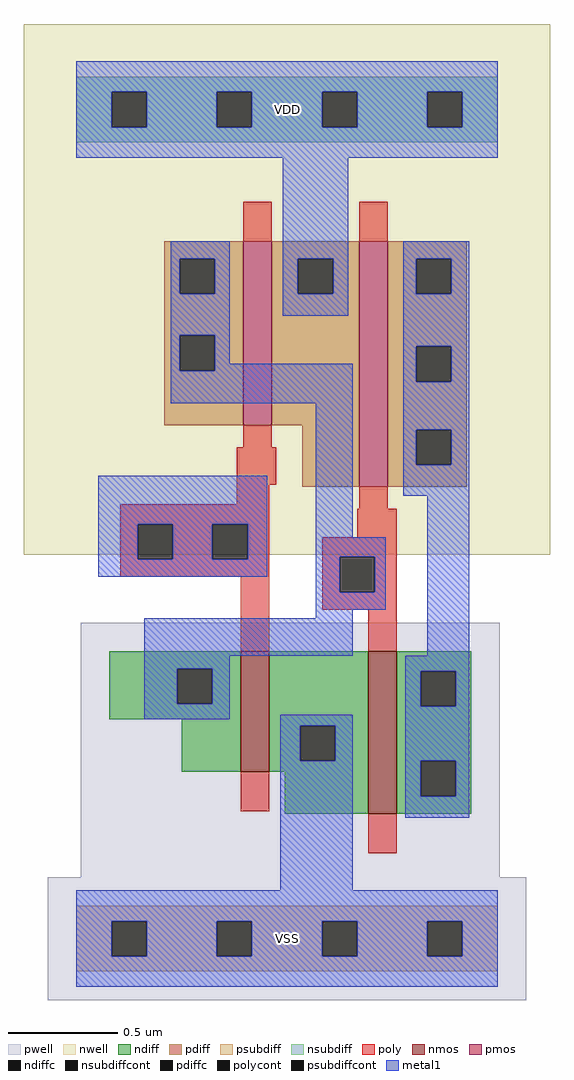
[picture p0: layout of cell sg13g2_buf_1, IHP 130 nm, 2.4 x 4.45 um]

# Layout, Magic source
magic
tech ihp-sg13g2
<< nwell >>
rect -24 175 216 417
<< pwell >>
rect 2 28 193 144
rect -13 -28 205 28
<< nmos >>
rect 75 76 88 131
rect 133 57 146 131
<< pmos >>
rect 76 234 89 318
rect 129 206 142 318
<< ndiff >>
rect 15 123 75 131
rect 15 107 46 123
rect 62 107 75 123
rect 15 100 75 107
rect 48 76 75 100
rect 88 97 133 131
rect 88 81 102 97
rect 118 81 133 97
rect 88 76 133 81
rect 95 57 133 76
rect 146 122 180 131
rect 146 106 157 122
rect 173 106 180 122
rect 146 81 180 106
rect 146 65 157 81
rect 173 65 180 81
rect 146 57 180 65
<< pdiff >>
rect 40 310 76 318
rect 40 294 47 310
rect 63 294 76 310
rect 40 275 76 294
rect 40 259 47 275
rect 63 259 76 275
rect 40 234 76 259
rect 89 310 129 318
rect 89 294 101 310
rect 117 294 129 310
rect 89 234 129 294
rect 103 206 129 234
rect 142 310 178 318
rect 142 294 155 310
rect 171 294 178 310
rect 142 270 178 294
rect 142 254 155 270
rect 171 254 178 270
rect 142 232 178 254
rect 142 216 155 232
rect 171 216 178 232
rect 142 206 178 216
<< ndiffc >>
rect 46 107 62 123
rect 102 81 118 97
rect 157 106 173 122
rect 157 65 173 81
<< pdiffc >>
rect 47 294 63 310
rect 47 259 63 275
rect 101 294 117 310
rect 155 294 171 310
rect 155 254 171 270
rect 155 216 171 232
<< psubdiff >>
rect 0 8 192 15
rect 0 -8 16 8
rect 32 -8 64 8
rect 80 -8 112 8
rect 128 -8 160 8
rect 176 -8 192 8
rect 0 -15 192 -8
<< nsubdiff >>
rect 0 386 192 393
rect 0 370 16 386
rect 32 370 64 386
rect 80 370 112 386
rect 128 370 160 386
rect 176 370 192 386
rect 0 363 192 370
<< psubdiffcont >>
rect 16 -8 32 8
rect 64 -8 80 8
rect 112 -8 128 8
rect 160 -8 176 8
<< nsubdiffcont >>
rect 16 370 32 386
rect 64 370 80 386
rect 112 370 128 386
rect 160 370 176 386
<< poly >>
rect 76 318 89 336
rect 129 318 142 336
rect 76 224 89 234
rect 73 207 91 224
rect 73 198 88 207
rect 20 189 88 198
rect 129 196 142 206
rect 20 173 28 189
rect 44 173 62 189
rect 78 173 88 189
rect 128 183 146 196
rect 20 165 88 173
rect 75 131 88 165
rect 112 174 146 183
rect 112 158 120 174
rect 136 158 146 174
rect 112 150 146 158
rect 133 131 146 150
rect 75 58 88 76
rect 133 39 146 57
<< polycont >>
rect 28 173 44 189
rect 62 173 78 189
rect 120 158 136 174
<< metal1 >>
rect 0 386 192 400
rect 0 370 16 386
rect 32 370 64 386
rect 80 370 112 386
rect 128 370 160 386
rect 176 370 192 386
rect 0 356 192 370
rect 43 310 70 318
rect 43 294 47 310
rect 63 294 70 310
rect 43 275 70 294
rect 94 310 124 356
rect 94 294 101 310
rect 117 294 124 310
rect 94 284 124 294
rect 149 310 179 318
rect 149 294 155 310
rect 171 294 179 310
rect 43 259 47 275
rect 63 262 70 275
rect 149 270 179 294
rect 63 259 126 262
rect 43 244 126 259
rect 10 189 87 211
rect 10 173 28 189
rect 44 173 62 189
rect 78 173 87 189
rect 10 165 87 173
rect 109 183 126 244
rect 149 254 155 270
rect 171 254 179 270
rect 149 232 179 254
rect 149 216 155 232
rect 171 216 179 232
rect 149 202 179 216
rect 109 174 141 183
rect 109 158 120 174
rect 136 158 141 174
rect 109 150 141 158
rect 109 146 126 150
rect 31 129 126 146
rect 160 129 179 202
rect 31 123 70 129
rect 31 107 46 123
rect 62 107 70 123
rect 31 100 70 107
rect 150 122 179 129
rect 150 106 157 122
rect 173 106 179 122
rect 93 97 126 102
rect 93 81 102 97
rect 118 81 126 97
rect 93 22 126 81
rect 150 81 179 106
rect 150 65 157 81
rect 173 65 179 81
rect 150 55 179 65
rect 0 8 192 22
rect 0 -8 16 8
rect 32 -8 64 8
rect 80 -8 112 8
rect 128 -8 160 8
rect 176 -8 192 8
rect 0 -22 192 -8
<< labels >>
flabel metal1 s 0 -22 192 22 0 FreeSans 200 0 0 0 VSS
port 3 nsew
flabel metal1 s 0 356 192 400 0 FreeSans 200 0 0 0 VDD
port 2 nsew
<< properties >>
string FIXED_BBOX 0 0 192 378
string GDS_END 186940
string GDS_FILE ../gds/controller.gds
string GDS_START 183652
<< end >>
